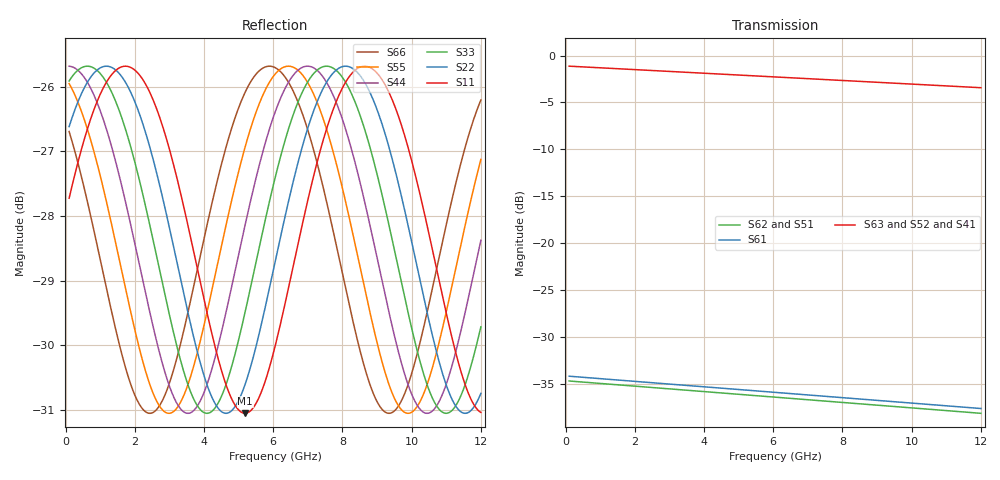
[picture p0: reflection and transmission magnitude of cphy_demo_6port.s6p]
! Created with skrf (http://scikit-rf.org).
# GHz S RI R 50.0
!freq ReS11 ImS11 ReS12 ImS12 ReS13 ImS13
! ReS14 ImS14 ReS15 ImS15 ReS16 ImS16
! ReS21 ImS21 ReS22 ImS22 ReS23 ImS23
! ReS24 ImS24 ReS25 ImS25 ReS26 ImS26
! ReS31 ImS31 ReS32 ImS32 ReS33 ImS33
! ReS34 ImS34 ReS35 ImS35 ReS36 ImS36
! ReS41 ImS41 ReS42 ImS42 ReS43 ImS43
! ReS44 ImS44 ReS45 ImS45 ReS46 ImS46
! ReS51 ImS51 ReS52 ImS52 ReS53 ImS53
! ReS54 ImS54 ReS55 ImS55 ReS56 ImS56
! ReS61 ImS61 ReS62 ImS62 ReS63 ImS63
! ReS64 ImS64 ReS65 ImS65 ReS66 ImS66
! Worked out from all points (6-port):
!   401 points, 100 MHz to 12 GHz, reference 50 ohm
!   strongest paths, dB at 100 MHz, 3.075 GHz, 6.05 GHz, 9.025 GHz, 12 GHz:
!     S63: -1.1, -1.7, -2.3, -2.9, -3.4
!     S52: -1.1, -1.7, -2.3, -2.9, -3.4
!     S41: -1.1, -1.7, -2.3, -2.9, -3.4
!     S61: -34.2, -35.0, -35.9, -36.8, -37.6
!     S62: -34.7, -35.6, -36.4, -37.3, -38.1
!     S51: -34.7, -35.6, -36.4, -37.3, -38.1
!   lowest |S11| = -31.1 dB at 5.187 GHz (marker M1), VSWR 1.06, Z = 50.2 - j2.8 ohm
!   |S11| at or under -10 dB: start of sweep to end of sweep
